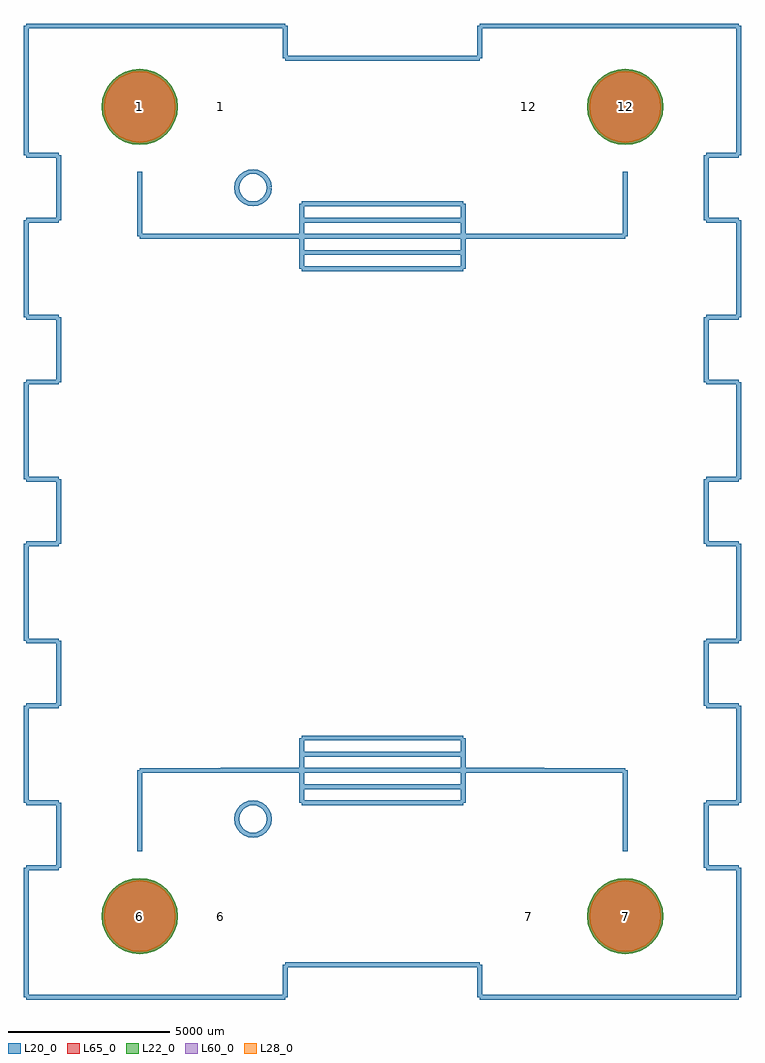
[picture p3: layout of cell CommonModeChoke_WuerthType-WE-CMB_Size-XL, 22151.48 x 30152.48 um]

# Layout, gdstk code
import gdstk
lib = gdstk.Library(unit=1e-6, precision=1e-09)
def P(c, l, *ps):  # polygons
    for p in ps: c.add(gdstk.Polygon(p, *l))
L20_0 = (20, 0)
L22_0 = (22, 0)
L28_0 = (28, 0)
L60_0 = (60, 0)
L65_0 = (65, 0)

commonmodechoke_wuerthty = lib.new_cell('CommonModeChoke_WuerthType-WE-CMB_Size-XL')
P(commonmodechoke_wuerthty, L22_0, [(-6325.8,12499.34),(-6348.374,12728.536),(-6415.228,12948.924),(-6523.793,13152.035),(-6669.897,13330.063),(-6847.925,13476.167),(-7051.036,13584.732),(-7271.424,13651.586),(-7500.62,13674.16),(-7729.816,13651.586),(-7950.204,13584.732),(-8153.315,13476.167),(-8331.343,13330.063),(-8477.447,13152.035),(-8586.012,12948.924),(-8652.866,12728.536),(-8675.44,12499.34),(-8652.866,12270.144),(-8586.012,12049.756),(-8477.447,11846.645),(-8331.343,11668.617),(-8153.315,11522.513),(-7950.204,11413.948),(-7729.816,11347.094),(-7500.62,11324.52),(-7271.424,11347.094),(-7051.036,11413.948),(-6847.925,11522.513),(-6669.897,11668.617),(-6523.793,11846.645),(-6415.228,12049.756),(-6348.374,12270.144)],
  [(8675.44,12499.34),(8652.866,12728.536),(8586.012,12948.924),(8477.447,13152.035),(8331.343,13330.063),(8153.315,13476.167),(7950.204,13584.732),(7729.816,13651.586),(7500.62,13674.16),(7271.424,13651.586),(7051.036,13584.732),(6847.925,13476.167),(6669.897,13330.063),(6523.793,13152.035),(6415.228,12948.924),(6348.374,12728.536),(6325.8,12499.34),(6348.374,12270.144),(6415.228,12049.756),(6523.793,11846.645),(6669.897,11668.617),(6847.925,11522.513),(7051.036,11413.948),(7271.424,11347.094),(7500.62,11324.52),(7729.816,11347.094),(7950.204,11413.948),(8153.315,11522.513),(8331.343,11668.617),(8477.447,11846.645),(8586.012,12049.756),(8652.866,12270.144)],
  [(8675.44,-12499.34),(8652.866,-12270.144),(8586.012,-12049.756),(8477.447,-11846.645),(8331.343,-11668.617),(8153.315,-11522.513),(7950.204,-11413.948),(7729.816,-11347.094),(7500.62,-11324.52),(7271.424,-11347.094),(7051.036,-11413.948),(6847.925,-11522.513),(6669.897,-11668.617),(6523.793,-11846.645),(6415.228,-12049.756),(6348.374,-12270.144),(6325.8,-12499.34),(6348.374,-12728.536),(6415.228,-12948.924),(6523.793,-13152.035),(6669.897,-13330.063),(6847.925,-13476.167),(7051.036,-13584.732),(7271.424,-13651.586),(7500.62,-13674.16),(7729.816,-13651.586),(7950.204,-13584.732),(8153.315,-13476.167),(8331.343,-13330.063),(8477.447,-13152.035),(8586.012,-12948.924),(8652.866,-12728.536)],
  [(-6325.8,-12499.34),(-6348.374,-12270.144),(-6415.228,-12049.756),(-6523.793,-11846.645),(-6669.897,-11668.617),(-6847.925,-11522.513),(-7051.036,-11413.948),(-7271.424,-11347.094),(-7500.62,-11324.52),(-7729.816,-11347.094),(-7950.204,-11413.948),(-8153.315,-11522.513),(-8331.343,-11668.617),(-8477.447,-11846.645),(-8586.012,-12049.756),(-8652.866,-12270.144),(-8675.44,-12499.34),(-8652.866,-12728.536),(-8586.012,-12948.924),(-8477.447,-13152.035),(-8331.343,-13330.063),(-8153.315,-13476.167),(-7950.204,-13584.732),(-7729.816,-13651.586),(-7500.62,-13674.16),(-7271.424,-13651.586),(-7051.036,-13584.732),(-6847.925,-13476.167),(-6669.897,-13330.063),(-6523.793,-13152.035),(-6415.228,-12948.924),(-6348.374,-12728.536)])
P(commonmodechoke_wuerthty, L28_0, [(-6400.8,12499.34),(-6421.933,12713.904),(-6484.519,12920.223),(-6586.153,13110.367),(-6722.93,13277.03),(-6889.593,13413.807),(-7079.737,13515.441),(-7286.056,13578.027),(-7500.62,13599.16),(-7715.184,13578.027),(-7921.503,13515.441),(-8111.647,13413.807),(-8278.31,13277.03),(-8415.087,13110.367),(-8516.721,12920.223),(-8579.307,12713.904),(-8600.44,12499.34),(-8579.307,12284.776),(-8516.721,12078.457),(-8415.087,11888.313),(-8278.31,11721.65),(-8111.647,11584.873),(-7921.503,11483.239),(-7715.184,11420.653),(-7500.62,11399.52),(-7286.056,11420.653),(-7079.737,11483.239),(-6889.593,11584.873),(-6722.93,11721.65),(-6586.153,11888.313),(-6484.519,12078.457),(-6421.933,12284.776)],
  [(8600.44,12499.34),(8579.307,12713.904),(8516.721,12920.223),(8415.087,13110.367),(8278.31,13277.03),(8111.647,13413.807),(7921.503,13515.441),(7715.184,13578.027),(7500.62,13599.16),(7286.056,13578.027),(7079.737,13515.441),(6889.593,13413.807),(6722.93,13277.03),(6586.153,13110.367),(6484.519,12920.223),(6421.933,12713.904),(6400.8,12499.34),(6421.933,12284.776),(6484.519,12078.457),(6586.153,11888.313),(6722.93,11721.65),(6889.593,11584.873),(7079.737,11483.239),(7286.056,11420.653),(7500.62,11399.52),(7715.184,11420.653),(7921.503,11483.239),(8111.647,11584.873),(8278.31,11721.65),(8415.087,11888.313),(8516.721,12078.457),(8579.307,12284.776)],
  [(8600.44,-12499.34),(8579.307,-12284.776),(8516.721,-12078.457),(8415.087,-11888.313),(8278.31,-11721.65),(8111.647,-11584.873),(7921.503,-11483.239),(7715.184,-11420.653),(7500.62,-11399.52),(7286.056,-11420.653),(7079.737,-11483.239),(6889.593,-11584.873),(6722.93,-11721.65),(6586.153,-11888.313),(6484.519,-12078.457),(6421.933,-12284.776),(6400.8,-12499.34),(6421.933,-12713.904),(6484.519,-12920.223),(6586.153,-13110.367),(6722.93,-13277.03),(6889.593,-13413.807),(7079.737,-13515.441),(7286.056,-13578.027),(7500.62,-13599.16),(7715.184,-13578.027),(7921.503,-13515.441),(8111.647,-13413.807),(8278.31,-13277.03),(8415.087,-13110.367),(8516.721,-12920.223),(8579.307,-12713.904)],
  [(-6400.8,-12499.34),(-6421.933,-12284.776),(-6484.519,-12078.457),(-6586.153,-11888.313),(-6722.93,-11721.65),(-6889.593,-11584.873),(-7079.737,-11483.239),(-7286.056,-11420.653),(-7500.62,-11399.52),(-7715.184,-11420.653),(-7921.503,-11483.239),(-8111.647,-11584.873),(-8278.31,-11721.65),(-8415.087,-11888.313),(-8516.721,-12078.457),(-8579.307,-12284.776),(-8600.44,-12499.34),(-8579.307,-12713.904),(-8516.721,-12920.223),(-8415.087,-13110.367),(-8278.31,-13277.03),(-8111.647,-13413.807),(-7921.503,-13515.441),(-7715.184,-13578.027),(-7500.62,-13599.16),(-7286.056,-13578.027),(-7079.737,-13515.441),(-6889.593,-13413.807),(-6722.93,-13277.03),(-6586.153,-13110.367),(-6484.519,-12920.223),(-6421.933,-12713.904)])
P(commonmodechoke_wuerthty, L60_0, [(-6400.8,12499.34),(-6421.933,12713.904),(-6484.519,12920.223),(-6586.153,13110.367),(-6722.93,13277.03),(-6889.593,13413.807),(-7079.737,13515.441),(-7286.056,13578.027),(-7500.62,13599.16),(-7715.184,13578.027),(-7921.503,13515.441),(-8111.647,13413.807),(-8278.31,13277.03),(-8415.087,13110.367),(-8516.721,12920.223),(-8579.307,12713.904),(-8600.44,12499.34),(-8579.307,12284.776),(-8516.721,12078.457),(-8415.087,11888.313),(-8278.31,11721.65),(-8111.647,11584.873),(-7921.503,11483.239),(-7715.184,11420.653),(-7500.62,11399.52),(-7286.056,11420.653),(-7079.737,11483.239),(-6889.593,11584.873),(-6722.93,11721.65),(-6586.153,11888.313),(-6484.519,12078.457),(-6421.933,12284.776)],
  [(8600.44,12499.34),(8579.307,12713.904),(8516.721,12920.223),(8415.087,13110.367),(8278.31,13277.03),(8111.647,13413.807),(7921.503,13515.441),(7715.184,13578.027),(7500.62,13599.16),(7286.056,13578.027),(7079.737,13515.441),(6889.593,13413.807),(6722.93,13277.03),(6586.153,13110.367),(6484.519,12920.223),(6421.933,12713.904),(6400.8,12499.34),(6421.933,12284.776),(6484.519,12078.457),(6586.153,11888.313),(6722.93,11721.65),(6889.593,11584.873),(7079.737,11483.239),(7286.056,11420.653),(7500.62,11399.52),(7715.184,11420.653),(7921.503,11483.239),(8111.647,11584.873),(8278.31,11721.65),(8415.087,11888.313),(8516.721,12078.457),(8579.307,12284.776)],
  [(8600.44,-12499.34),(8579.307,-12284.776),(8516.721,-12078.457),(8415.087,-11888.313),(8278.31,-11721.65),(8111.647,-11584.873),(7921.503,-11483.239),(7715.184,-11420.653),(7500.62,-11399.52),(7286.056,-11420.653),(7079.737,-11483.239),(6889.593,-11584.873),(6722.93,-11721.65),(6586.153,-11888.313),(6484.519,-12078.457),(6421.933,-12284.776),(6400.8,-12499.34),(6421.933,-12713.904),(6484.519,-12920.223),(6586.153,-13110.367),(6722.93,-13277.03),(6889.593,-13413.807),(7079.737,-13515.441),(7286.056,-13578.027),(7500.62,-13599.16),(7715.184,-13578.027),(7921.503,-13515.441),(8111.647,-13413.807),(8278.31,-13277.03),(8415.087,-13110.367),(8516.721,-12920.223),(8579.307,-12713.904)],
  [(-6400.8,-12499.34),(-6421.933,-12284.776),(-6484.519,-12078.457),(-6586.153,-11888.313),(-6722.93,-11721.65),(-6889.593,-11584.873),(-7079.737,-11483.239),(-7286.056,-11420.653),(-7500.62,-11399.52),(-7715.184,-11420.653),(-7921.503,-11483.239),(-8111.647,-11584.873),(-8278.31,-11721.65),(-8415.087,-11888.313),(-8516.721,-12078.457),(-8579.307,-12284.776),(-8600.44,-12499.34),(-8579.307,-12713.904),(-8516.721,-12920.223),(-8415.087,-13110.367),(-8278.31,-13277.03),(-8111.647,-13413.807),(-7921.503,-13515.441),(-7715.184,-13578.027),(-7500.62,-13599.16),(-7286.056,-13578.027),(-7079.737,-13515.441),(-6889.593,-13413.807),(-6722.93,-13277.03),(-6586.153,-13110.367),(-6484.519,-12920.223),(-6421.933,-12713.904)])
P(commonmodechoke_wuerthty, L65_0, [(-6325.8,12499.34),(-6348.374,12728.536),(-6415.228,12948.924),(-6523.793,13152.035),(-6669.897,13330.063),(-6847.925,13476.167),(-7051.036,13584.732),(-7271.424,13651.586),(-7500.62,13674.16),(-7729.816,13651.586),(-7950.204,13584.732),(-8153.315,13476.167),(-8331.343,13330.063),(-8477.447,13152.035),(-8586.012,12948.924),(-8652.866,12728.536),(-8675.44,12499.34),(-8652.866,12270.144),(-8586.012,12049.756),(-8477.447,11846.645),(-8331.343,11668.617),(-8153.315,11522.513),(-7950.204,11413.948),(-7729.816,11347.094),(-7500.62,11324.52),(-7271.424,11347.094),(-7051.036,11413.948),(-6847.925,11522.513),(-6669.897,11668.617),(-6523.793,11846.645),(-6415.228,12049.756),(-6348.374,12270.144)],
  [(8675.44,12499.34),(8652.866,12728.536),(8586.012,12948.924),(8477.447,13152.035),(8331.343,13330.063),(8153.315,13476.167),(7950.204,13584.732),(7729.816,13651.586),(7500.62,13674.16),(7271.424,13651.586),(7051.036,13584.732),(6847.925,13476.167),(6669.897,13330.063),(6523.793,13152.035),(6415.228,12948.924),(6348.374,12728.536),(6325.8,12499.34),(6348.374,12270.144),(6415.228,12049.756),(6523.793,11846.645),(6669.897,11668.617),(6847.925,11522.513),(7051.036,11413.948),(7271.424,11347.094),(7500.62,11324.52),(7729.816,11347.094),(7950.204,11413.948),(8153.315,11522.513),(8331.343,11668.617),(8477.447,11846.645),(8586.012,12049.756),(8652.866,12270.144)],
  [(8675.44,-12499.34),(8652.866,-12270.144),(8586.012,-12049.756),(8477.447,-11846.645),(8331.343,-11668.617),(8153.315,-11522.513),(7950.204,-11413.948),(7729.816,-11347.094),(7500.62,-11324.52),(7271.424,-11347.094),(7051.036,-11413.948),(6847.925,-11522.513),(6669.897,-11668.617),(6523.793,-11846.645),(6415.228,-12049.756),(6348.374,-12270.144),(6325.8,-12499.34),(6348.374,-12728.536),(6415.228,-12948.924),(6523.793,-13152.035),(6669.897,-13330.063),(6847.925,-13476.167),(7051.036,-13584.732),(7271.424,-13651.586),(7500.62,-13674.16),(7729.816,-13651.586),(7950.204,-13584.732),(8153.315,-13476.167),(8331.343,-13330.063),(8477.447,-13152.035),(8586.012,-12948.924),(8652.866,-12728.536)],
  [(-6325.8,-12499.34),(-6348.374,-12270.144),(-6415.228,-12049.756),(-6523.793,-11846.645),(-6669.897,-11668.617),(-6847.925,-11522.513),(-7051.036,-11413.948),(-7271.424,-11347.094),(-7500.62,-11324.52),(-7729.816,-11347.094),(-7950.204,-11413.948),(-8153.315,-11522.513),(-8331.343,-11668.617),(-8477.447,-11846.645),(-8586.012,-12049.756),(-8652.866,-12270.144),(-8675.44,-12499.34),(-8652.866,-12728.536),(-8586.012,-12948.924),(-8477.447,-13152.035),(-8331.343,-13330.063),(-8153.315,-13476.167),(-7950.204,-13584.732),(-7729.816,-13651.586),(-7500.62,-13674.16),(-7271.424,-13651.586),(-7051.036,-13584.732),(-6847.925,-13476.167),(-6669.897,-13330.063),(-6523.793,-13152.035),(-6415.228,-12948.924),(-6348.374,-12728.536)])
commonmodechoke_wuerthty.add(gdstk.FlexPath([(-2499.36,9502.14),(0,9502.14)], 149.998, ends="flush", simple_path=True, layer=20, datatype=0))  # L20_0
commonmodechoke_wuerthty.add(gdstk.FlexPath([(-2499.36,7500.62),(-2499.36,9502.14)], 149.998, ends="flush", simple_path=True, layer=20, datatype=0))  # L20_0
commonmodechoke_wuerthty.add(gdstk.FlexPath([(-2499.36,8501.38),(-5001.26,8501.38)], 149.998, ends="flush", simple_path=True, layer=20, datatype=0))  # L20_0
commonmodechoke_wuerthty.add(gdstk.FlexPath([(2499.36,7500.62),(-2499.36,7500.62)], 149.998, ends="flush", simple_path=True, layer=20, datatype=0))  # L20_0
commonmodechoke_wuerthty.add(gdstk.FlexPath([(2499.36,9502.14),(2499.36,7500.62)], 149.998, ends="flush", simple_path=True, layer=20, datatype=0))  # L20_0
commonmodechoke_wuerthty.add(gdstk.FlexPath([(0,9502.14),(2499.36,9502.14)], 149.998, ends="flush", simple_path=True, layer=20, datatype=0))  # L20_0
commonmodechoke_wuerthty.add(gdstk.FlexPath([(-2499.36,8501.38),(2499.36,8501.38)], 149.998, ends="flush", simple_path=True, layer=20, datatype=0))  # L20_0
commonmodechoke_wuerthty.add(gdstk.FlexPath([(2499.36,9001.76),(-2499.36,9001.76)], 149.998, ends="flush", simple_path=True, layer=20, datatype=0))  # L20_0
commonmodechoke_wuerthty.add(gdstk.FlexPath([(-2499.36,8001),(2499.36,8001)], 149.998, ends="flush", simple_path=True, layer=20, datatype=0))  # L20_0
commonmodechoke_wuerthty.add(gdstk.FlexPath([(2499.36,8501.38),(5001.26,8501.38)], 149.998, ends="flush", simple_path=True, layer=20, datatype=0))  # L20_0
commonmodechoke_wuerthty.add(gdstk.FlexPath([(2499.36,-6997.7),(2499.36,-8999.22)], 149.998, ends="flush", simple_path=True, layer=20, datatype=0))  # L20_0
commonmodechoke_wuerthty.add(gdstk.FlexPath([(-2499.36,-6997.7),(2499.36,-6997.7)], 149.998, ends="flush", simple_path=True, layer=20, datatype=0))  # L20_0
commonmodechoke_wuerthty.add(gdstk.FlexPath([(-2499.36,-8999.22),(-2499.36,-6997.7)], 149.998, ends="flush", simple_path=True, layer=20, datatype=0))  # L20_0
commonmodechoke_wuerthty.add(gdstk.FlexPath([(2499.36,-8999.22),(-2499.36,-8999.22)], 149.998, ends="flush", simple_path=True, layer=20, datatype=0))  # L20_0
commonmodechoke_wuerthty.add(gdstk.FlexPath([(5001.26,-7998.46),(2499.36,-7998.46)], 149.998, ends="flush", simple_path=True, layer=20, datatype=0))  # L20_0
commonmodechoke_wuerthty.add(gdstk.FlexPath([(-5001.26,-7998.46),(-2499.36,-7998.46)], 149.998, ends="flush", simple_path=True, layer=20, datatype=0))  # L20_0
commonmodechoke_wuerthty.add(gdstk.FlexPath([(2499.36,-7498.08),(-2499.36,-7498.08)], 149.998, ends="flush", simple_path=True, layer=20, datatype=0))  # L20_0
commonmodechoke_wuerthty.add(gdstk.FlexPath([(-2499.36,-8498.84),(2499.36,-8498.84)], 149.998, ends="flush", simple_path=True, layer=20, datatype=0))  # L20_0
commonmodechoke_wuerthty.add(gdstk.FlexPath([(2499.36,-7998.46),(-2499.36,-7998.46)], 149.998, ends="flush", simple_path=True, layer=20, datatype=0))  # L20_0
commonmodechoke_wuerthty.add(gdstk.FlexPath([(-3500.12,10002.52),(-3517.17,10132.028),(-3567.158,10252.71),(-3646.678,10356.342),(-3750.31,10435.862),(-3870.992,10485.85),(-4000.5,10502.9),(-4130.008,10485.85),(-4250.69,10435.862),(-4354.322,10356.342),(-4433.842,10252.71),(-4483.83,10132.028),(-4500.88,10002.52),(-4483.83,9873.012),(-4433.842,9752.33),(-4354.322,9648.698),(-4250.69,9569.178),(-4130.008,9519.19),(-4000.5,9502.14),(-3870.992,9519.19),(-3750.31,9569.178),(-3646.678,9648.698),(-3567.158,9752.33),(-3517.17,9873.012),(-3500.12,10002.52)], 149.998, ends="flush", simple_path=True, layer=20, datatype=0))  # L20_0
commonmodechoke_wuerthty.add(gdstk.FlexPath([(-3500.12,-9499.6),(-3517.17,-9370.092),(-3567.158,-9249.41),(-3646.678,-9145.778),(-3750.31,-9066.258),(-3870.992,-9016.27),(-4000.5,-8999.22),(-4130.008,-9016.27),(-4250.69,-9066.258),(-4354.322,-9145.778),(-4433.842,-9249.41),(-4483.83,-9370.092),(-4500.88,-9499.6),(-4483.83,-9629.108),(-4433.842,-9749.79),(-4354.322,-9853.422),(-4250.69,-9932.942),(-4130.008,-9982.93),(-4000.5,-9999.98),(-3870.992,-9982.93),(-3750.31,-9932.942),(-3646.678,-9853.422),(-3567.158,-9749.79),(-3517.17,-9629.108),(-3500.12,-9499.6)], 149.998, ends="flush", simple_path=True, layer=20, datatype=0))  # L20_0
commonmodechoke_wuerthty.add(gdstk.FlexPath([(5001.26,8498.84),(5999.48,8498.84)], 149.998, ends="flush", simple_path=True, layer=20, datatype=0))  # L20_0
commonmodechoke_wuerthty.add(gdstk.FlexPath([(-5001.26,8498.84),(-5999.48,8498.84)], 149.998, ends="flush", simple_path=True, layer=20, datatype=0))  # L20_0
commonmodechoke_wuerthty.add(gdstk.FlexPath([(-5001.26,-8001),(-5999.48,-8001)], 149.998, ends="flush", simple_path=True, layer=20, datatype=0))  # L20_0
commonmodechoke_wuerthty.add(gdstk.FlexPath([(-2999.74,15001.24),(-11000.74,15001.24)], 149.998, ends="flush", simple_path=True, layer=20, datatype=0))  # L20_0
commonmodechoke_wuerthty.add(gdstk.FlexPath([(-2999.74,14000.48),(-2999.74,15001.24)], 149.998, ends="flush", simple_path=True, layer=20, datatype=0))  # L20_0
commonmodechoke_wuerthty.add(gdstk.FlexPath([(2999.74,14000.48),(-2999.74,14000.48)], 149.998, ends="flush", simple_path=True, layer=20, datatype=0))  # L20_0
commonmodechoke_wuerthty.add(gdstk.FlexPath([(2999.74,15001.24),(2999.74,14000.48)], 149.998, ends="flush", simple_path=True, layer=20, datatype=0))  # L20_0
commonmodechoke_wuerthty.add(gdstk.FlexPath([(11000.74,15001.24),(2999.74,15001.24)], 149.998, ends="flush", simple_path=True, layer=20, datatype=0))  # L20_0
commonmodechoke_wuerthty.add(gdstk.FlexPath([(-2999.74,-15001.24),(-11000.74,-15001.24)], 149.998, ends="flush", simple_path=True, layer=20, datatype=0))  # L20_0
commonmodechoke_wuerthty.add(gdstk.FlexPath([(-2999.74,-14000.48),(-2999.74,-15001.24)], 149.998, ends="flush", simple_path=True, layer=20, datatype=0))  # L20_0
commonmodechoke_wuerthty.add(gdstk.FlexPath([(2999.74,-14000.48),(-2999.74,-14000.48)], 149.998, ends="flush", simple_path=True, layer=20, datatype=0))  # L20_0
commonmodechoke_wuerthty.add(gdstk.FlexPath([(2999.74,-15001.24),(2999.74,-14000.48)], 149.998, ends="flush", simple_path=True, layer=20, datatype=0))  # L20_0
commonmodechoke_wuerthty.add(gdstk.FlexPath([(11000.74,-15001.24),(2999.74,-15001.24)], 149.998, ends="flush", simple_path=True, layer=20, datatype=0))  # L20_0
commonmodechoke_wuerthty.add(gdstk.FlexPath([(11000.74,-11000.74),(11000.74,-15001.24)], 149.998, ends="flush", simple_path=True, layer=20, datatype=0))  # L20_0
commonmodechoke_wuerthty.add(gdstk.FlexPath([(9999.98,-11000.74),(11000.74,-11000.74)], 149.998, ends="flush", simple_path=True, layer=20, datatype=0))  # L20_0
commonmodechoke_wuerthty.add(gdstk.FlexPath([(9999.98,-8999.22),(9999.98,-11000.74)], 149.998, ends="flush", simple_path=True, layer=20, datatype=0))  # L20_0
commonmodechoke_wuerthty.add(gdstk.FlexPath([(11000.74,-8999.22),(9999.98,-8999.22)], 149.998, ends="flush", simple_path=True, layer=20, datatype=0))  # L20_0
commonmodechoke_wuerthty.add(gdstk.FlexPath([(11000.74,-5999.48),(11000.74,-8999.22)], 149.998, ends="flush", simple_path=True, layer=20, datatype=0))  # L20_0
commonmodechoke_wuerthty.add(gdstk.FlexPath([(9999.98,-5999.48),(11000.74,-5999.48)], 149.998, ends="flush", simple_path=True, layer=20, datatype=0))  # L20_0
commonmodechoke_wuerthty.add(gdstk.FlexPath([(9999.98,-4000.5),(9999.98,-5999.48)], 149.998, ends="flush", simple_path=True, layer=20, datatype=0))  # L20_0
commonmodechoke_wuerthty.add(gdstk.FlexPath([(11000.74,-4000.5),(9999.98,-4000.5)], 149.998, ends="flush", simple_path=True, layer=20, datatype=0))  # L20_0
commonmodechoke_wuerthty.add(gdstk.FlexPath([(11000.74,-1000.76),(11000.74,-4000.5)], 149.998, ends="flush", simple_path=True, layer=20, datatype=0))  # L20_0
commonmodechoke_wuerthty.add(gdstk.FlexPath([(9999.98,-1000.76),(11000.74,-1000.76)], 149.998, ends="flush", simple_path=True, layer=20, datatype=0))  # L20_0
commonmodechoke_wuerthty.add(gdstk.FlexPath([(9999.98,0),(9999.98,-1000.76)], 149.998, ends="flush", simple_path=True, layer=20, datatype=0))  # L20_0
commonmodechoke_wuerthty.add(gdstk.FlexPath([(9999.98,1000.76),(11000.74,1000.76)], 149.998, ends="flush", simple_path=True, layer=20, datatype=0))  # L20_0
commonmodechoke_wuerthty.add(gdstk.FlexPath([(9999.98,0),(9999.98,1000.76)], 149.998, ends="flush", simple_path=True, layer=20, datatype=0))  # L20_0
commonmodechoke_wuerthty.add(gdstk.FlexPath([(11000.74,1000.76),(11000.74,3500.12)], 149.998, ends="flush", simple_path=True, layer=20, datatype=0))  # L20_0
commonmodechoke_wuerthty.add(gdstk.FlexPath([(9999.98,5999.48),(11000.74,5999.48)], 149.998, ends="flush", simple_path=True, layer=20, datatype=0))  # L20_0
commonmodechoke_wuerthty.add(gdstk.FlexPath([(9999.98,4000.5),(9999.98,5999.48)], 149.998, ends="flush", simple_path=True, layer=20, datatype=0))  # L20_0
commonmodechoke_wuerthty.add(gdstk.FlexPath([(11000.74,4000.5),(9999.98,4000.5)], 149.998, ends="flush", simple_path=True, layer=20, datatype=0))  # L20_0
commonmodechoke_wuerthty.add(gdstk.FlexPath([(11000.74,3500.12),(11000.74,4000.5)], 149.998, ends="flush", simple_path=True, layer=20, datatype=0))  # L20_0
commonmodechoke_wuerthty.add(gdstk.FlexPath([(11000.74,11000.74),(11000.74,15001.24)], 149.998, ends="flush", simple_path=True, layer=20, datatype=0))  # L20_0
commonmodechoke_wuerthty.add(gdstk.FlexPath([(9999.98,11000.74),(11000.74,11000.74)], 149.998, ends="flush", simple_path=True, layer=20, datatype=0))  # L20_0
commonmodechoke_wuerthty.add(gdstk.FlexPath([(9999.98,8999.22),(9999.98,11000.74)], 149.998, ends="flush", simple_path=True, layer=20, datatype=0))  # L20_0
commonmodechoke_wuerthty.add(gdstk.FlexPath([(11000.74,8999.22),(9999.98,8999.22)], 149.998, ends="flush", simple_path=True, layer=20, datatype=0))  # L20_0
commonmodechoke_wuerthty.add(gdstk.FlexPath([(11000.74,5999.48),(11000.74,8999.22)], 149.998, ends="flush", simple_path=True, layer=20, datatype=0))  # L20_0
commonmodechoke_wuerthty.add(gdstk.FlexPath([(-11000.74,-11000.74),(-11000.74,-15001.24)], 149.998, ends="flush", simple_path=True, layer=20, datatype=0))  # L20_0
commonmodechoke_wuerthty.add(gdstk.FlexPath([(-9999.98,-11000.74),(-11000.74,-11000.74)], 149.998, ends="flush", simple_path=True, layer=20, datatype=0))  # L20_0
commonmodechoke_wuerthty.add(gdstk.FlexPath([(-9999.98,-8999.22),(-9999.98,-11000.74)], 149.998, ends="flush", simple_path=True, layer=20, datatype=0))  # L20_0
commonmodechoke_wuerthty.add(gdstk.FlexPath([(-11000.74,-8999.22),(-9999.98,-8999.22)], 149.998, ends="flush", simple_path=True, layer=20, datatype=0))  # L20_0
commonmodechoke_wuerthty.add(gdstk.FlexPath([(-11000.74,-5999.48),(-11000.74,-8999.22)], 149.998, ends="flush", simple_path=True, layer=20, datatype=0))  # L20_0
commonmodechoke_wuerthty.add(gdstk.FlexPath([(-9999.98,-5999.48),(-11000.74,-5999.48)], 149.998, ends="flush", simple_path=True, layer=20, datatype=0))  # L20_0
commonmodechoke_wuerthty.add(gdstk.FlexPath([(-9999.98,-4000.5),(-9999.98,-5999.48)], 149.998, ends="flush", simple_path=True, layer=20, datatype=0))  # L20_0
commonmodechoke_wuerthty.add(gdstk.FlexPath([(-11000.74,-4000.5),(-9999.98,-4000.5)], 149.998, ends="flush", simple_path=True, layer=20, datatype=0))  # L20_0
commonmodechoke_wuerthty.add(gdstk.FlexPath([(-11000.74,-1000.76),(-11000.74,-4000.5)], 149.998, ends="flush", simple_path=True, layer=20, datatype=0))  # L20_0
commonmodechoke_wuerthty.add(gdstk.FlexPath([(-9999.98,-1000.76),(-11000.74,-1000.76)], 149.998, ends="flush", simple_path=True, layer=20, datatype=0))  # L20_0
commonmodechoke_wuerthty.add(gdstk.FlexPath([(-9999.98,1000.76),(-9999.98,-1000.76)], 149.998, ends="flush", simple_path=True, layer=20, datatype=0))  # L20_0
commonmodechoke_wuerthty.add(gdstk.FlexPath([(-11000.74,1000.76),(-9999.98,1000.76)], 149.998, ends="flush", simple_path=True, layer=20, datatype=0))  # L20_0
commonmodechoke_wuerthty.add(gdstk.FlexPath([(-11000.74,4000.5),(-11000.74,1000.76)], 149.998, ends="flush", simple_path=True, layer=20, datatype=0))  # L20_0
commonmodechoke_wuerthty.add(gdstk.FlexPath([(-9999.98,4000.5),(-11000.74,4000.5)], 149.998, ends="flush", simple_path=True, layer=20, datatype=0))  # L20_0
commonmodechoke_wuerthty.add(gdstk.FlexPath([(-9999.98,5999.48),(-9999.98,4000.5)], 149.998, ends="flush", simple_path=True, layer=20, datatype=0))  # L20_0
commonmodechoke_wuerthty.add(gdstk.FlexPath([(-11000.74,5999.48),(-9999.98,5999.48)], 149.998, ends="flush", simple_path=True, layer=20, datatype=0))  # L20_0
commonmodechoke_wuerthty.add(gdstk.FlexPath([(-11000.74,8999.22),(-11000.74,5999.48)], 149.998, ends="flush", simple_path=True, layer=20, datatype=0))  # L20_0
commonmodechoke_wuerthty.add(gdstk.FlexPath([(-9999.98,8999.22),(-11000.74,8999.22)], 149.998, ends="flush", simple_path=True, layer=20, datatype=0))  # L20_0
commonmodechoke_wuerthty.add(gdstk.FlexPath([(-9999.98,9499.6),(-9999.98,8999.22)], 149.998, ends="flush", simple_path=True, layer=20, datatype=0))  # L20_0
commonmodechoke_wuerthty.add(gdstk.FlexPath([(-9999.98,11000.74),(-9999.98,9499.6)], 149.998, ends="flush", simple_path=True, layer=20, datatype=0))  # L20_0
commonmodechoke_wuerthty.add(gdstk.FlexPath([(-11000.74,11000.74),(-9999.98,11000.74)], 149.998, ends="flush", simple_path=True, layer=20, datatype=0))  # L20_0
commonmodechoke_wuerthty.add(gdstk.FlexPath([(-11000.74,15001.24),(-11000.74,11000.74)], 149.998, ends="flush", simple_path=True, layer=20, datatype=0))  # L20_0
commonmodechoke_wuerthty.add(gdstk.FlexPath([(7500.62,8498.84),(7500.62,10500.36)], 149.998, ends="flush", simple_path=True, layer=20, datatype=0))  # L20_0
commonmodechoke_wuerthty.add(gdstk.FlexPath([(5999.48,8498.84),(7500.62,8498.84)], 149.998, ends="flush", simple_path=True, layer=20, datatype=0))  # L20_0
commonmodechoke_wuerthty.add(gdstk.FlexPath([(-7500.62,8498.84),(-7500.62,10500.36)], 149.998, ends="flush", simple_path=True, layer=20, datatype=0))  # L20_0
commonmodechoke_wuerthty.add(gdstk.FlexPath([(-5999.48,8498.84),(-7500.62,8498.84)], 149.998, ends="flush", simple_path=True, layer=20, datatype=0))  # L20_0
commonmodechoke_wuerthty.add(gdstk.FlexPath([(5001.26,-8001),(7500.62,-8001)], 149.998, ends="flush", simple_path=True, layer=20, datatype=0))  # L20_0
commonmodechoke_wuerthty.add(gdstk.FlexPath([(7500.62,-8001),(7500.62,-10500.36)], 149.998, ends="flush", simple_path=True, layer=20, datatype=0))  # L20_0
commonmodechoke_wuerthty.add(gdstk.FlexPath([(-5999.48,-8001),(-7500.62,-8001)], 149.998, ends="flush", simple_path=True, layer=20, datatype=0))  # L20_0
commonmodechoke_wuerthty.add(gdstk.FlexPath([(-7500.62,-8001),(-7500.62,-10500.36)], 149.998, ends="flush", simple_path=True, layer=20, datatype=0))  # L20_0
commonmodechoke_wuerthty.add(gdstk.Label('1', (-7500.62,12499.34), layer=28, texttype=0))
commonmodechoke_wuerthty.add(gdstk.Label('12', (7500.62,12499.34), layer=28, texttype=0))
commonmodechoke_wuerthty.add(gdstk.Label('7', (7500.62,-12499.34), layer=28, texttype=0))
commonmodechoke_wuerthty.add(gdstk.Label('6', (-7500.62,-12499.34), layer=28, texttype=0))
commonmodechoke_wuerthty.add(gdstk.Label('1', (-5001.26,12499.34), layer=9, texttype=0))
commonmodechoke_wuerthty.add(gdstk.Label('12', (4500.88,12499.34), layer=9, texttype=0))
commonmodechoke_wuerthty.add(gdstk.Label('6', (-5001.26,-12499.34), layer=9, texttype=0))
commonmodechoke_wuerthty.add(gdstk.Label('7', (4500.88,-12499.34), layer=9, texttype=0))
commonmodechoke_wuerthty.add(gdstk.Label('type', (-1000.76,-18000.98), layer=9, texttype=0))
commonmodechoke_wuerthty.add(gdstk.Label('devicename', (0,17000.22), layer=9, texttype=0))

lib.write_gds('CommonModeChoke_WuerthType-WE-CMB_Size-XL.gds')
